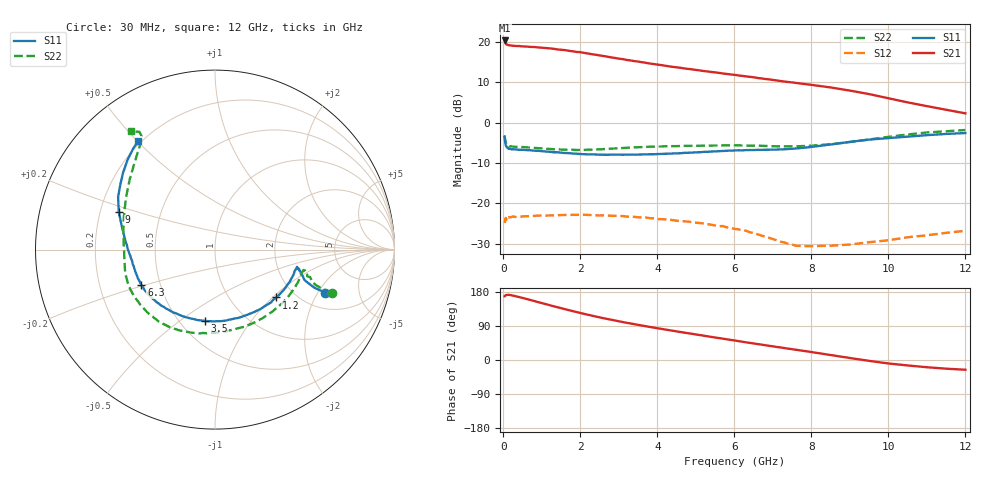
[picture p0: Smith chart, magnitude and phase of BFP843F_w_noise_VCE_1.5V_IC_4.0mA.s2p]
! Infineon Technologies  Discrete & RF Semiconductors
! BFP843F
! VCE =  1.5 V,  IC =  4.0 mA
! Common Emitter S-Parameters:  Aug 2013
# GHz  S  MA  R  50
!  f  S11  S21  S12  S22
! GHz  MAG  ANG  MAG  ANG  MAG  ANG  MAG  ANG
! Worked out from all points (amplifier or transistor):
!   103 points, 30 MHz to 12 GHz, reference 50 ohm
!   highest |S21| = 20.3 dB at 30 MHz (marker M1)
!   |S21| within 3 dB of that: start of sweep to 2.054 GHz
!   unconditionally stable (mu >= 1): 184.9 MHz to 525.3 MHz; 3.947 GHz to end of sweep
!   at 400 MHz: K = 1.00, MAG = 20.7 dB, |S12| = -23.3 dB
!   at 3.7 GHz: K = 0.97, MSG = 19.2 dB, |S12| = -23.5 dB
!   at 12 GHz: K = 1.55, MAG = 10.2 dB, |S12| = -26.8 dB
!   lowest NFmin = 0.87 dB at 450 MHz
!   S11 on the Smith chart (normalised r, x): 30 MHz: 2.74, -2.31; 1.2 GHz: 1.61, -1.06; 3.5 GHz: 0.66, -0.63; 6.3 GHz: 0.39, -0.20; 9 GHz: 0.28, +0.17; 12 GHz: 0.19, +0.50
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0.03  0.6584 -21.3  10.39 168.1  0.057 35.1  0.6959 -20.5
0.04  0.5935 -21.0  9.948 168.4  0.0593 28.0  0.6311 -20.0
0.05  0.5561 -19.9  9.579 170.5  0.064 20.4  0.5975 -19.4
0.07  0.5126 -17.0  9.321 171.3  0.0623 15.5  0.5518 -16.1
0.15  0.4743 -12.6  9.075 171.9  0.0669 8.2  0.5082 -13.0
0.8  0.4479 -26.2  8.618 155.6  0.0697 0.5  0.4858 -32.0
1.2  0.4339 -37.9  8.285 144.7  0.0706 -2.4  0.4707 -47.0
1.6  0.4188 -49.4  7.886 134.0  0.0716 -4.6  0.4616 -62.1
2.1  0.4052 -63.6  7.285 121.6  0.072 -7.8  0.4577 -80.2
2.7  0.3984 -79.1  6.54 108.2  0.0707 -12.0  0.4693 -98.3
3.1  0.399 -88.6  6.099 100.1  0.0694 -14.9  0.483 -107.9
3.5  0.401 -97.8  5.689 92.7  0.067 -18.0  0.4942 -116.1
4.1  0.408 -111.1  5.145 82.2  0.0636 -21.2  0.5044 -126.6
5.1  0.4283 -132.1  4.423 65.8  0.0569 -26.3  0.5152 -142.4
6.1  0.4533 -150.5  3.836 49.9  0.0475 -30.7  0.521 -157.7
6.3  0.4555 -154.1  3.729 46.7  0.0456 -31.2  0.5185 -160.8
7.5  0.4729 -175.7  3.139 28.5  0.0308 -21.9  0.5071 -179.6
8.5  0.5342 166.2  2.718 13.1  0.0298 -2.6  0.539 160.5
9  0.5756 158.7  2.487 5.3  0.0308 4.8  0.574 149.8
10  0.6416 145.2  1.998 -9.1  0.0348 15.0  0.6646 132.1
10.5  0.6682 140.0  1.776 -14.4  0.0379 17.6  0.7115 126.2
12  0.7408 125.5  1.299 -25.7  0.0456 25.4  0.8079 125.4
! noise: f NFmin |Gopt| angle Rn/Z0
0.45  0.87  0.19  11  0.07
0.9  0.87  0.2  21  0.08
1.5  0.95  0.2  27  0.08
1.9  1.01  0.2  42  0.08
2.4  1.04  0.19  56  0.09
3.5  1.12  0.2  83  0.14
5.5  1.25  0.19  144  0.22
10  2.02  0.4  -128  0.24
